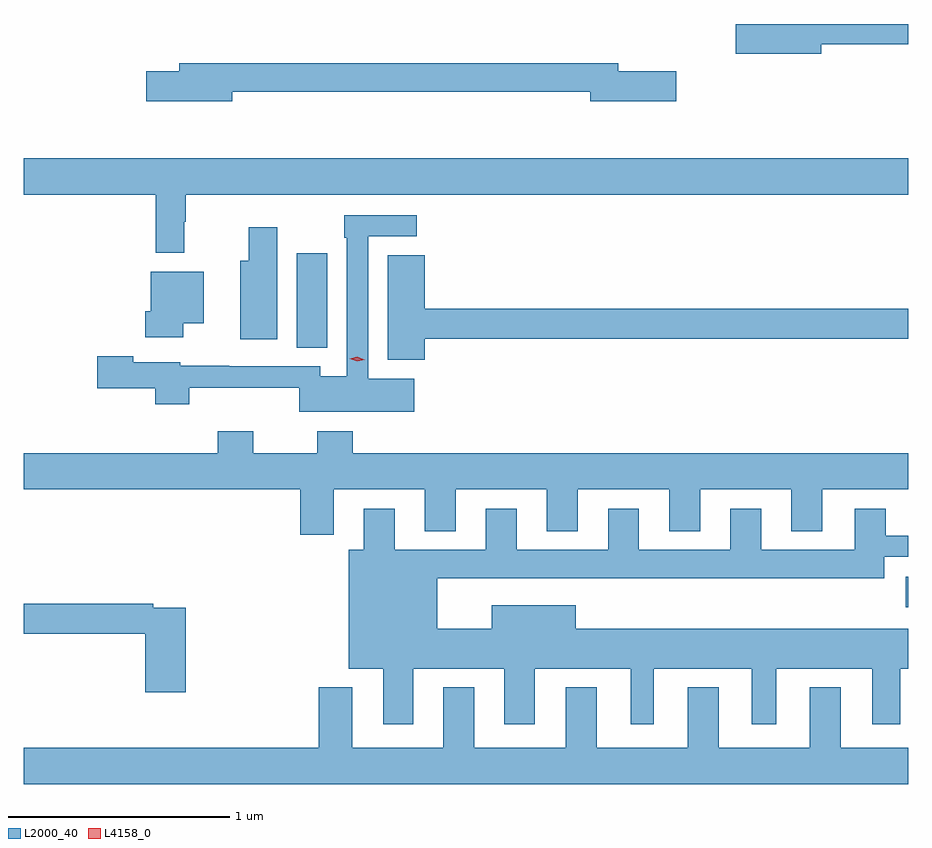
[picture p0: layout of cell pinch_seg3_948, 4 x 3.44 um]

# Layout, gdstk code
import gdstk
lib = gdstk.Library(unit=1e-6, precision=1e-09)
def R(c, l, rs):  # rectangles x0, y0, x1, y1
    for r in rs: c.add(gdstk.rectangle(r[:2], r[2:], *l))
def P(c, l, *ps):  # polygons
    for p in ps: c.add(gdstk.Polygon(p, *l))
L2000_40 = (2000, 40)
L4158_0 = (4158, 0)

pinch_seg3_948 = lib.new_cell('pinch_seg3_948')
R(pinch_seg3_948, L2000_40, [(421.628,709.706,421.639,709.846), (418.874,710.881,419.011,711.307)])
P(pinch_seg3_948, L2000_40, [(421.246,712.252),(421.639,712.252),(421.639,712.344),(420.858,712.344),(420.858,712.21),(421.246,712.21)],
  [(418.582,712.038),(420.2,712.038),(420.2,711.995),(420.589,711.995),(420.589,712.13),(420.328,712.13),(420.328,712.166),(418.343,712.166),(418.343,712.13),(418.194,712.13),(418.194,711.995),(418.582,711.995)],
  [(418.366,711.449),(418.373,711.449),(418.373,711.572),(421.639,711.572),(421.639,711.736),(417.639,711.736),(417.639,711.572),(418.237,711.572),(418.237,711.309),(418.366,711.309)],
  [(419.404,710.74),(419.196,710.74),(419.196,711.384),(419.416,711.384),(419.416,711.48),(419.088,711.48),(419.088,711.377),(419.1,711.377),(419.1,710.752),(418.98,710.752),(418.98,710.796),(418.568,710.796),(418.568,710.798),(418.347,710.798),(418.347,710.814),(418.134,710.814),(418.134,710.842),(417.972,710.842),(417.972,710.698),(418.235,710.698),(418.235,710.624),(418.388,710.624),(418.388,710.699),(418.884,710.699),(418.884,710.591),(419.404,710.591)],
  [(418.786,711.424),(418.657,711.424),(418.657,711.274),(418.619,711.274),(418.619,710.918),(418.786,710.918)],
  [(419.452,710.92),(421.639,710.92),(421.639,711.056),(419.452,711.056),(419.452,711.299),(419.285,711.299),(419.285,710.825),(419.452,710.825)],
  [(418.36,710.99),(418.453,710.99),(418.453,711.223),(418.214,711.223),(418.214,711.045),(418.19,711.045),(418.19,710.927),(418.36,710.927)],
  [(419.041,710.24),(419.453,710.24),(419.453,710.051),(419.593,710.051),(419.593,710.24),(420.005,710.24),(420.005,710.051),(420.145,710.051),(420.145,710.24),(420.557,710.24),(420.557,710.051),(420.697,710.051),(420.697,710.24),(421.109,710.24),(421.109,710.051),(421.249,710.051),(421.249,710.24),(421.639,710.24),(421.639,710.404),(419.126,710.404),(419.126,710.503),(418.966,710.503),(418.966,710.404),(418.677,710.404),(418.677,710.503),(418.517,710.503),(418.517,710.404),(417.639,710.404),(417.639,710.24),(418.889,710.24),(418.889,710.034),(419.041,710.034)],
  [(419.401,709.43),(419.813,709.43),(419.813,709.179),(419.95,709.179),(419.95,709.43),(420.383,709.43),(420.383,709.179),(420.487,709.179),(420.487,709.43),(420.932,709.43),(420.932,709.179),(421.042,709.179),(421.042,709.43),(421.475,709.43),(421.475,709.179),(421.603,709.179),(421.603,709.43),(421.639,709.43),(421.639,709.609),(420.136,709.609),(420.136,709.717),(419.756,709.717),(419.756,709.609),(419.509,709.609),(419.509,709.838),(421.531,709.838),(421.531,709.935),(421.639,709.935),(421.639,710.031),(421.537,710.031),(421.537,710.152),(421.397,710.152),(421.397,709.966),(420.973,709.966),(420.973,710.152),(420.833,710.152),(420.833,709.966),(420.421,709.966),(420.421,710.152),(420.281,710.152),(420.281,709.966),(419.869,709.966),(419.869,710.152),(419.729,710.152),(419.729,709.966),(419.317,709.966),(419.317,710.152),(419.177,710.152),(419.177,709.966),(419.108,709.966),(419.108,709.43),(419.264,709.43),(419.264,709.179),(419.401,709.179)],
  [(418.373,709.704),(418.226,709.704),(418.226,709.724),(417.639,709.724),(417.639,709.588),(418.19,709.588),(418.19,709.323),(418.373,709.323)],
  [(421.639,709.072),(421.333,709.072),(421.333,709.345),(421.193,709.345),(421.193,709.072),(420.781,709.072),(420.781,709.345),(420.641,709.345),(420.641,709.072),(420.229,709.072),(420.229,709.345),(420.089,709.345),(420.089,709.072),(419.677,709.072),(419.677,709.345),(419.537,709.345),(419.537,709.072),(419.125,709.072),(419.125,709.345),(418.973,709.345),(418.973,709.072),(417.639,709.072),(417.639,708.908),(421.639,708.908)])
P(pinch_seg3_948, L4158_0, [(419.147,710.819),(419.113,710.83),(419.112,710.83),(419.113,710.83),(419.148,710.839),(419.182,710.827),(419.182,710.827),(419.182,710.827)])

lib.write_gds('pinch_seg3_948.gds')
